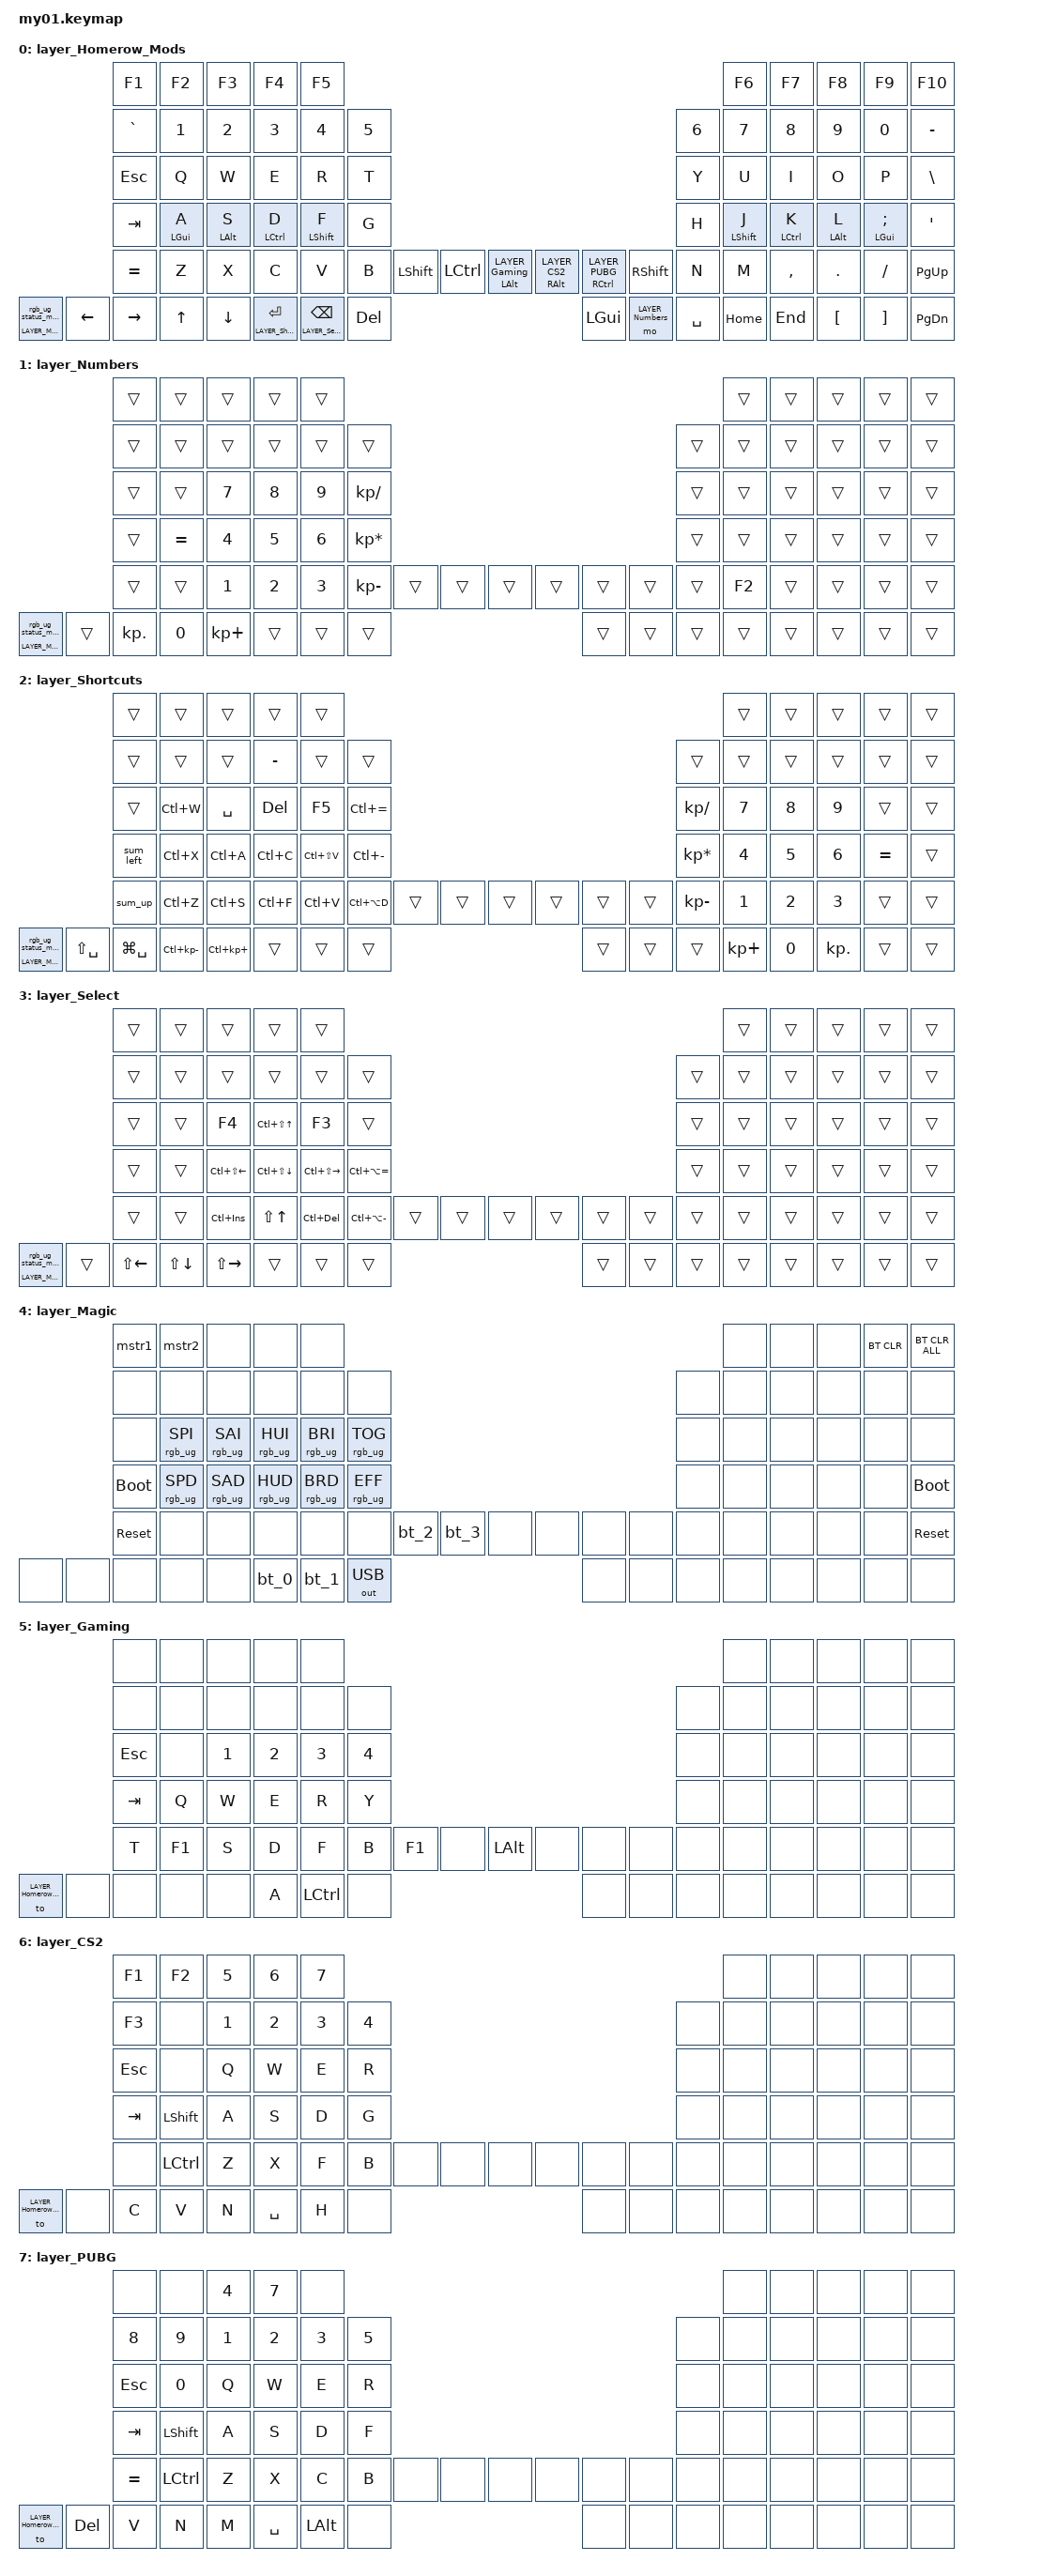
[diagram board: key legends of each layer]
/*
 * Copyright (c) 2020 The ZMK Contributors
 * Copyright (c) 2025 Innaworks Development Limited, trading as MoErgo
 *
 * SPDX-License-Identifier: MIT
 */


/* THIS FILE WAS GENERATED BY GLOVE80 LAYOUT EDITOR
 *
 * This file was generated automatically. You may or may not want to
 * edit it directly.
 */

#include <behaviors.dtsi>
/* Include all behavior includes needed */
#include <dt-bindings/zmk/outputs.h>
#include <dt-bindings/zmk/keys.h>
#include <dt-bindings/zmk/bt.h>
#include <dt-bindings/zmk/rgb.h>

/* On demand includes */


/* Helper Macros, based on https://github.com/urob/zmk-helpers/ */

#pragma once

#define ZMK_HELPER_STRINGIFY(x) #x

// Preprocessor mechanism to overload macros, cf. https://stackoverflow.com/a/27051616/6114651
#define VARGS_(_10, _9, _8, _7, _6, _5, _4, _3, _2, _1, N, ...) N
#define VARGS(...) VARGS_(__VA_ARGS__, 10, 9, 8, 7, 6, 5, 4, 3, 2, 1, 0)
#define CONCAT_(a, b) a##b
#define CONCAT(a, b) CONCAT_(a, b)

#define ZMK_BEHAVIOR_CORE_tap_dance  \
    compatible = "zmk,behavior-tap-dance"; \
    #binding-cells = <0>

#define ZMK_BEHAVIOR(name, type, ...) \
    name: name { \
        ZMK_BEHAVIOR_CORE_ ## type; \
        __VA_ARGS__ \
    };

#define ZMK_TAP_DANCE(name, ...) \
    ZMK_BEHAVIOR(name, tap_dance, __VA_ARGS__)

#define ZMK_TD_LAYER(name, layer) \
    ZMK_TAP_DANCE(name, \
        tapping-term-ms = <200>; \
        bindings = <&mo layer>, <&to layer>; \
)

/* Environment and metadata defines */
#define KB_TYPE_GLOVE_80 1
#define KB_TYPE_GO_60    2

#define KB_TYPE          KB_TYPE_GLOVE_80
#define EDITOR_HOST_OS   'M'

/* Automatically generated layer name defines */
#define LAYER_Homerow_Mods 0
#define LAYER_Numbers 1
#define LAYER_Shortcuts 2
#define LAYER_Select 3
#define LAYER_Magic 4
#define LAYER_Gaming 5
#define LAYER_CS2 6
#define LAYER_PUBG 7

/* To deal with the situation where there is no Lower layer, to keep &lower happy */
#ifndef LAYER_Lower
#define LAYER_Lower 0
#endif

/* Custom Device-tree */


/* Input Listeners */


/* System behavior and Macros */
/ {
    behaviors {
        ZMK_TD_LAYER(lower, LAYER_Lower)
    };
};

/ {
    macros {
        rgb_ug_status_macro: rgb_ug_status_macro {
            label = "RGB_UG_STATUS";
            compatible = "zmk,behavior-macro";
            #binding-cells = <0>;
            bindings
                = <&rgb_ug RGB_STATUS>;
        };
    };
};


/ {
#ifdef BT_DISC_CMD
    behaviors {
        bt_0: bt_0 {
            compatible = "zmk,behavior-tap-dance";
            label = "BT_0";
            #binding-cells = <0>;
            tapping-term-ms = <200>;
            bindings = <&bt_select_0>, <&bt BT_DISC 0>;
        };
        bt_1: bt_1 {
            compatible = "zmk,behavior-tap-dance";
            label = "BT_1";
            #binding-cells = <0>;
            tapping-term-ms = <200>;
            bindings = <&bt_select_1>, <&bt BT_DISC 1>;
        };
        bt_2: bt_2 {
            compatible = "zmk,behavior-tap-dance";
            label = "BT_2";
            #binding-cells = <0>;
            tapping-term-ms = <200>;
            bindings = <&bt_select_2>, <&bt BT_DISC 2>;
        };
        bt_3: bt_3 {
            compatible = "zmk,behavior-tap-dance";
            label = "BT_3";
            #binding-cells = <0>;
            tapping-term-ms = <200>;
            bindings = <&bt_select_3>, <&bt BT_DISC 3>;
        };
    };
    macros {
        bt_select_0: bt_select_0 {
            label = "BT_SELECT_0";
            compatible = "zmk,behavior-macro";
            #binding-cells = <0>;
            bindings
                = <&out OUT_BLE>,
                  <&bt BT_SEL 0>;
        };
        bt_select_1: bt_select_1 {
            label = "BT_SELECT_1";
            compatible = "zmk,behavior-macro";
            #binding-cells = <0>;
            bindings
                = <&out OUT_BLE>,
                  <&bt BT_SEL 1>;
        };
        bt_select_2: bt_select_2 {
            label = "BT_SELECT_2";
            compatible = "zmk,behavior-macro";
            #binding-cells = <0>;
            bindings
                = <&out OUT_BLE>,
                  <&bt BT_SEL 2>;
        };
        bt_select_3: bt_select_3 {
            label = "BT_SELECT_3";
            compatible = "zmk,behavior-macro";
            #binding-cells = <0>;
            bindings
                = <&out OUT_BLE>,
                  <&bt BT_SEL 3>;
        };
    };
#else
    macros {
        bt_0: bt_0 {
            label = "BT_0";
            compatible = "zmk,behavior-macro";
            #binding-cells = <0>;
            bindings
                = <&out OUT_BLE>,
                  <&bt BT_SEL 0>;
        };
        bt_1: bt_1 {
            label = "BT_1";
            compatible = "zmk,behavior-macro";
            #binding-cells = <0>;
            bindings
                = <&out OUT_BLE>,
                  <&bt BT_SEL 1>;
        };
        bt_2: bt_2 {
            label = "BT_2";
            compatible = "zmk,behavior-macro";
            #binding-cells = <0>;
            bindings
                = <&out OUT_BLE>,
                  <&bt BT_SEL 2>;
        };
        bt_3: bt_3 {
            label = "BT_3";
            compatible = "zmk,behavior-macro";
            #binding-cells = <0>;
            bindings
                = <&out OUT_BLE>,
                  <&bt BT_SEL 3>;
        };
    };
#endif
};

/ {
    behaviors {
        magic: magic {
            compatible = "zmk,behavior-hold-tap";
            label = "MAGIC_HOLD_TAP";
            #binding-cells = <2>;
            flavor = "tap-preferred";
            tapping-term-ms = <200>;
            bindings = <&mo>, <&rgb_ug_status_macro>;
        };
    };
};


/* Key positions */

#define POS_LH_C6R1 0
#define POS_LH_C5R1 1
#define POS_LH_C4R1 2
#define POS_LH_C3R1 3
#define POS_LH_C2R1 4
#define POS_RH_C2R1 5
#define POS_RH_C3R1 6
#define POS_RH_C4R1 7
#define POS_RH_C5R1 8
#define POS_RH_C6R1 9
#define POS_LH_C6R2 10
#define POS_LH_C5R2 11
#define POS_LH_C4R2 12
#define POS_LH_C3R2 13
#define POS_LH_C2R2 14
#define POS_LH_C1R2 15
#define POS_RH_C1R2 16
#define POS_RH_C2R2 17
#define POS_RH_C3R2 18
#define POS_RH_C4R2 19
#define POS_RH_C5R2 20
#define POS_RH_C6R2 21
#define POS_LH_C6R3 22
#define POS_LH_C5R3 23
#define POS_LH_C4R3 24
#define POS_LH_C3R3 25
#define POS_LH_C2R3 26
#define POS_LH_C1R3 27
#define POS_RH_C1R3 28
#define POS_RH_C2R3 29
#define POS_RH_C3R3 30
#define POS_RH_C4R3 31
#define POS_RH_C5R3 32
#define POS_RH_C6R3 33
#define POS_LH_C6R4 34
#define POS_LH_C5R4 35
#define POS_LH_C4R4 36
#define POS_LH_C3R4 37
#define POS_LH_C2R4 38
#define POS_LH_C1R4 39
#define POS_RH_C1R4 40
#define POS_RH_C2R4 41
#define POS_RH_C3R4 42
#define POS_RH_C4R4 43
#define POS_RH_C5R4 44
#define POS_RH_C6R4 45
#define POS_LH_C6R5 46
#define POS_LH_C5R5 47
#define POS_LH_C4R5 48
#define POS_LH_C3R5 49
#define POS_LH_C2R5 50
#define POS_LH_C1R5 51
#define POS_LH_T1 52
#define POS_LH_T2 53
#define POS_LH_T3 54
#define POS_RH_T3 55
#define POS_RH_T2 56
#define POS_RH_T1 57
#define POS_RH_C1R5 58
#define POS_RH_C2R5 59
#define POS_RH_C3R5 60
#define POS_RH_C4R5 61
#define POS_RH_C5R5 62
#define POS_RH_C6R5 63
#define POS_LH_C6R6 64
#define POS_LH_C5R6 65
#define POS_LH_C4R6 66
#define POS_LH_C3R6 67
#define POS_LH_C2R6 68
#define POS_LH_T4 69
#define POS_LH_T5 70
#define POS_LH_T6 71
#define POS_RH_T6 72
#define POS_RH_T5 73
#define POS_RH_T4 74
#define POS_RH_C2R6 75
#define POS_RH_C3R6 76
#define POS_RH_C4R6 77
#define POS_RH_C5R6 78
#define POS_RH_C6R6 79


/* Custom Defined Behaviors */
/ {

};

/* Generated input processors */


/* Automatically generated macro definitions */
/ {
    macros {

        // AutoShift (Assign &AS to a Key) - &AS main macro is chained to &AS_HT hold tap and &AS_Shifted macro
        AS: AS {
            label = "&AS";
            compatible = "zmk,behavior-macro-one-param";
            #binding-cells = <1>;
            tap-ms = <10>;
            wait-ms = <10>;
            bindings = <&macro_press>
                , <&macro_param_1to1>
                , <&macro_param_1to2>
                , <&AS_HT A A>
                , <&macro_pause_for_release>
                , <&macro_release>
                , <&macro_param_1to1>
                , <&macro_param_1to2>
                , <&AS_HT A A>;
        };

        // AutoShift Helper - &AS main macro is chained to &AS_HT hold tap and &AS_Shifted macro - TailorKey
        AS_Shifted: AS_Shifted {
            label = "&AS_SHIFTED";
            compatible = "zmk,behavior-macro-one-param";
            #binding-cells = <1>;
            bindings = <&macro_press>
                , <&kp LSHFT>
                , <&macro_tap>
                , <&macro_param_1to1>
                , <&kp N1>
                , <&macro_release>
                , <&kp LSHFT>;
        };

        // Cursor Layer Copy - Ctrl C
        cur_COPY: cur_COPY {
            label = "&CUR_COPY";
            compatible = "zmk,behavior-macro";
            #binding-cells = <0>;
            bindings = <&kp LC(C)>;
        };

        // Cursor Layer Cut - Ctrl X
        cur_CUT: cur_CUT {
            label = "&CUR_CUT";
            compatible = "zmk,behavior-macro";
            #binding-cells = <0>;
            bindings = <&kp LC(X)>;
        };

        // Cursor Layer - extend the current line
        cur_EXTEND_LINE: cur_EXTEND_LINE {
            label = "&CUR_EXTEND_LINE";
            compatible = "zmk,behavior-macro";
            #binding-cells = <0>;
            tap-ms = <1>;
            wait-ms = <1>;
            bindings = <&kp LS(END)>;
        };

        // Cursor Layer - extend current word
        cur_EXTEND_WORD: cur_EXTEND_WORD {
            label = "&CUR_EXTEND_WORD";
            compatible = "zmk,behavior-macro";
            #binding-cells = <0>;
            tap-ms = <1>;
            wait-ms = <1>;
            bindings = <&kp LC(LS(RIGHT))>;
        };

        // Cursor Layer Find - Ctrl F
        cur_FIND: cur_FIND {
            label = "&CUR_FIND";
            compatible = "zmk,behavior-macro";
            #binding-cells = <0>;
            bindings = <&kp LC(F)>;
        };

        // Cursor Layer Find Next - Ctrl G
        cur_FNEXT: cur_FNEXT {
            label = "&CUR_FNEXT";
            compatible = "zmk,behavior-macro";
            #binding-cells = <0>;
            bindings = <&kp LC(G)>;
        };

        // Cursor Layer Find Prev - Ctrl Shift G
        cur_FPREV: cur_FPREV {
            label = "&CUR_FPREV";
            compatible = "zmk,behavior-macro";
            #binding-cells = <0>;
            bindings = <&kp LS(LC(G))>;
        };

        // Cursor Layer Paste - Ctrl V
        cur_PASTE: cur_PASTE {
            label = "&CUR_PASTE";
            compatible = "zmk,behavior-macro";
            #binding-cells = <0>;
            bindings = <&kp LC(V)>;
        };

        // Cursor Layer Redo - Ctrl Y
        cur_REDO: cur_REDO {
            label = "&CUR_REDO";
            compatible = "zmk,behavior-macro";
            #binding-cells = <0>;
            bindings = <&kp LC(Y)>;
        };

        // Cursor Layer Selest All - Ctrl A
        cur_SELECT_ALL: cur_SELECT_ALL {
            label = "&CUR_SELECT_ALL";
            compatible = "zmk,behavior-macro";
            #binding-cells = <0>;
            bindings = <&kp LC(A)>;
        };

        // Cursor Layer - select the current line
        cur_SELECT_LINE: cur_SELECT_LINE {
            label = "&CUR_SELECT_LINE";
            compatible = "zmk,behavior-macro";
            #binding-cells = <0>;
            tap-ms = <1>;
            wait-ms = <1>;
            bindings = <&kp HOME>
                , <&kp LS(END)>;
        };

        // Cursor Layer - select_none macro
        cur_SELECT_NONE: cur_SELECT_NONE {
            label = "&CUR_SELECT_NONE";
            compatible = "zmk,behavior-macro";
            #binding-cells = <0>;
            tap-ms = <1>;
            wait-ms = <1>;
            bindings = <&kp DOWN>
                , <&kp UP>
                , <&kp RIGHT>
                , <&kp LEFT>;
        };

        // Cursor Layer - select current word
        cur_SELECT_WORD: cur_SELECT_WORD {
            label = "&CUR_SELECT_WORD";
            compatible = "zmk,behavior-macro";
            #binding-cells = <0>;
            tap-ms = <1>;
            wait-ms = <1>;
            bindings = <&kp LC(LEFT)>
                , <&kp LC(LS(RIGHT))>;
        };

        // Cursor Layer Undo - Ctrl Z
        cur_UNDO: cur_UNDO {
            label = "&CUR_UNDO";
            compatible = "zmk,behavior-macro";
            #binding-cells = <0>;
            bindings = <&kp LC(Z)>;
        };

        // mod_tab_switcher - Glorious Engrammer
        //
        //
        mod_tab: mod_tab {
            label = "&MOD_TAB";
            compatible = "zmk,behavior-macro-one-param";
            #binding-cells = <1>;
            tap-ms = <0>;
            wait-ms = <0>;
            bindings = <&macro_press>
                , <&macro_param_1to1>
                , <&kp N0>
                , <&macro_tap>
                , <&kp TAB>
                , <&macro_pause_for_release>
                , <&macro_release>
                , <&macro_param_1to1>
                , <&kp N0>;
        };

        // mod_tab_switcher_chord  - Glorious Engrammer
        mod_tab_chord: mod_tab_chord {
            label = "&MOD_TAB_CHORD";
            compatible = "zmk,behavior-macro-two-param";
            #binding-cells = <2>;
            tap-ms = <0>;
            wait-ms = <0>;
            bindings = <&macro_press>
                , <&macro_param_2to1>
                , <&mo LAYER_Homerow_Mods>
                , <&macro_press>
                , <&macro_param_1to1>
                , <&mod_tab N0>
                , <&macro_pause_for_release>
                , <&macro_release>
                , <&macro_param_1to1>
                , <&mod_tab N0>
                , <&macro_release>
                , <&macro_param_2to1>
                , <&mo LAYER_Homerow_Mods>;
        };

        // Magic Layer F1 - Text output sample macro 1 "¡Hola!" - TailorKey Sample
        mstr1: mstr1 {
            label = "&MSTR1";
            compatible = "zmk,behavior-macro";
            #binding-cells = <0>;
            bindings = <&macro_press>
                , <&kp RALT>
                , <&macro_tap>
                , <&kp KP_N0>
                , <&kp KP_N1>
                , <&kp KP_N6>
                , <&kp KP_N1>
                , <&macro_release>
                , <&kp RALT>
                , <&macro_press>
                , <&kp LSHFT>
                , <&macro_tap>
                , <&kp H>
                , <&macro_release>
                , <&kp LSHFT>
                , <&macro_tap>
                , <&kp O>
                , <&kp L>
                , <&kp A>
                , <&kp LS(N1)>
                , <&kp SPACE>
                , <&kp RET>;
        };

        // Magic Layer F2 - Text output sample macro 2 "grammar check: <paste>" - TailorKey Sample
        mstr2: mstr2 {
            label = "&MSTR2";
            compatible = "zmk,behavior-macro";
            #binding-cells = <0>;
            bindings = <&macro_tap>
                , <&kp G>
                , <&kp R>
                , <&kp A>
                , <&kp M>
                , <&kp M>
                , <&kp A>
                , <&kp R>
                , <&kp SPACE>
                , <&kp C>
                , <&kp H>
                , <&kp E>
                , <&kp C>
                , <&kp K>
                , <&kp LS(SEMI)>
                , <&kp LC(V)>
                , <&kp RET>;
        };

        // paste plain text
        mm_PASTE_PLAIN: mm_PASTE_PLAIN {
            label = "&MM_PASTE_PLAIN";
            compatible = "zmk,behavior-macro";
            #binding-cells = <0>;
            bindings = <&kp LC(LS(V))>;
        };

        // Perform sum to left cells
        sum_left: sum_left {
            label = "&SUM_LEFT";
            compatible = "zmk,behavior-macro";
            #binding-cells = <0>;
            bindings = <&macro_tap>
                , <&kp EQUAL>
                , <&macro_wait_time 10>
                , <&kp S>
                , <&macro_wait_time 10>
                , <&kp U>
                , <&macro_wait_time 10>
                , <&kp M>
                , <&macro_wait_time 10>
                , <&kp LS(N9)>
                , <&macro_wait_time 80>
                , <&kp LEFT>;
        };

        // Perform sum to left cells
        sum_up: sum_up {
            label = "&SUM_UP";
            compatible = "zmk,behavior-macro";
            #binding-cells = <0>;
            bindings = <&macro_tap>
                , <&kp EQUAL>
                , <&macro_wait_time 10>
                , <&kp S>
                , <&macro_wait_time 10>
                , <&kp U>
                , <&macro_wait_time 10>
                , <&kp M>
                , <&macro_wait_time 10>
                , <&kp LS(N9)>
                , <&macro_wait_time 300>
                , <&kp UP>;
        };
    };
};

/* Automatically generated behavior definitions */
/ {
    behaviors {


        // AutoShift Helper - &AS main macro is chained to &AS_HT hold tap and &AS_Shifted macro - TailorKey
        AS_HT: AS_HT {
            compatible = "zmk,behavior-hold-tap";
            #binding-cells = <2>;
            tapping-term-ms = <190>;
            bindings = <&AS_Shifted>, <&kp>;
        };

        // Homerow Mod for the left index finger
        HRM_left_index: HRM_left_index {
            compatible = "zmk,behavior-hold-tap";
            #binding-cells = <2>;
            tapping-term-ms = <200>;
            bindings = <&kp>, <&kp>;
            flavor = "balanced";
            quick-tap-ms = <200>;
            require-prior-idle-ms = <150>;
            retro-tap;
            hold-trigger-key-positions = <POS_RH_T1 POS_RH_T2 POS_RH_T3 POS_RH_T6 POS_RH_T5 POS_RH_T4 POS_RH_C2R1 POS_RH_C3R1 POS_RH_C4R1 POS_RH_C5R1 POS_RH_C1R2 POS_RH_C2R2 POS_RH_C3R2 POS_RH_C4R2 POS_RH_C5R2 POS_RH_C1R3 POS_RH_C2R3 POS_RH_C3R3 POS_RH_C4R3 POS_RH_C5R3 POS_RH_C1R4 POS_RH_C2R4 POS_RH_C3R4 POS_RH_C4R4 POS_RH_C5R4 POS_RH_C1R5 POS_RH_C2R5 POS_RH_C3R5 POS_RH_C4R5 POS_RH_C5R5 POS_RH_C2R6 POS_RH_C3R6 POS_RH_C4R6 POS_RH_C5R6 POS_RH_C6R1 POS_RH_C6R2 POS_RH_C6R3 POS_RH_C6R4 POS_RH_C6R5 POS_RH_C6R6 POS_LH_T1 POS_LH_T2 POS_LH_T3 POS_LH_T5 POS_LH_T6 POS_LH_T4 POS_LH_C2R4>;
            hold-trigger-on-release;
        };

        // Homerow Mod for the left middle finger
        HRM_left_middy: HRM_left_middy {
            compatible = "zmk,behavior-hold-tap";
            #binding-cells = <2>;
            tapping-term-ms = <200>;
            bindings = <&kp>, <&kp>;
            flavor = "balanced";
            quick-tap-ms = <200>;
            require-prior-idle-ms = <180>;
            retro-tap;
            hold-trigger-key-positions = <POS_RH_T1 POS_RH_T2 POS_RH_T3 POS_RH_T6 POS_RH_T5 POS_RH_T4 POS_RH_C2R1 POS_RH_C3R1 POS_RH_C4R1 POS_RH_C5R1 POS_RH_C1R2 POS_RH_C2R2 POS_RH_C3R2 POS_RH_C4R2 POS_RH_C5R2 POS_RH_C1R3 POS_RH_C2R3 POS_RH_C3R3 POS_RH_C4R3 POS_RH_C5R3 POS_RH_C1R4 POS_RH_C2R4 POS_RH_C3R4 POS_RH_C4R4 POS_RH_C5R4 POS_RH_C1R5 POS_RH_C2R5 POS_RH_C3R5 POS_RH_C4R5 POS_RH_C5R5 POS_RH_C2R6 POS_RH_C3R6 POS_RH_C4R6 POS_RH_C5R6 POS_RH_C6R1 POS_RH_C6R2 POS_RH_C6R3 POS_RH_C6R4 POS_RH_C6R5 POS_RH_C6R6 POS_LH_T1 POS_LH_T2 POS_LH_T3 POS_LH_T4 POS_LH_T5 POS_LH_T6 POS_LH_C3R4>;
            hold-trigger-on-release;
        };

        // Homerow Mod for the left pinky
        HRM_left_pinky: HRM_left_pinky {
            compatible = "zmk,behavior-hold-tap";
            #binding-cells = <2>;
            tapping-term-ms = <200>;
            bindings = <&kp>, <&kp>;
            flavor = "balanced";
            quick-tap-ms = <200>;
            require-prior-idle-ms = <180>;
            retro-tap;
            hold-trigger-key-positions = <POS_RH_T1 POS_RH_T2 POS_RH_T3 POS_RH_T6 POS_RH_T5 POS_RH_T4 POS_RH_C2R1 POS_RH_C3R1 POS_RH_C4R1 POS_RH_C5R1 POS_RH_C6R1 POS_RH_C1R2 POS_RH_C2R2 POS_RH_C3R2 POS_RH_C4R2 POS_RH_C5R2 POS_RH_C6R2 POS_RH_C2R3 POS_RH_C3R3 POS_RH_C4R3 POS_RH_C5R3 POS_RH_C6R3 POS_RH_C3R4 POS_RH_C4R4 POS_RH_C5R4 POS_RH_C6R4 POS_RH_C3R5 POS_RH_C4R5 POS_RH_C5R5 POS_RH_C6R5 POS_RH_C1R3 POS_RH_C1R4 POS_RH_C2R4 POS_RH_C1R5 POS_RH_C2R5 POS_RH_C2R6 POS_RH_C3R6 POS_RH_C4R6 POS_RH_C6R6 POS_RH_C5R6 POS_LH_T1 POS_LH_T2 POS_LH_T3 POS_LH_T4 POS_LH_T5 POS_LH_T6 POS_LH_C5R4>;
            hold-trigger-on-release;
        };

        // Homerow Mod for the left ring finger 1
        HRM_left_ring1: HRM_left_ring1 {
            compatible = "zmk,behavior-hold-tap";
            #binding-cells = <2>;
            tapping-term-ms = <200>;
            bindings = <&kp>, <&kp>;
            flavor = "balanced";
            quick-tap-ms = <200>;
            require-prior-idle-ms = <150>;
            retro-tap;
            hold-trigger-key-positions = <POS_RH_T1 POS_RH_T2 POS_RH_T3 POS_RH_T6 POS_RH_T5 POS_RH_T4 POS_RH_C2R1 POS_RH_C3R1 POS_RH_C4R1 POS_RH_C5R1 POS_RH_C1R2 POS_RH_C2R2 POS_RH_C3R2 POS_RH_C4R2 POS_RH_C5R2 POS_RH_C1R3 POS_RH_C2R3 POS_RH_C3R3 POS_RH_C4R3 POS_RH_C5R3 POS_RH_C1R4 POS_RH_C2R4 POS_RH_C3R4 POS_RH_C4R4 POS_RH_C5R4 POS_RH_C1R5 POS_RH_C2R5 POS_RH_C3R5 POS_RH_C4R5 POS_RH_C5R5 POS_RH_C2R6 POS_RH_C3R6 POS_RH_C4R6 POS_RH_C5R6 POS_RH_C6R1 POS_RH_C6R2 POS_RH_C6R3 POS_RH_C6R4 POS_RH_C6R5 POS_RH_C6R6 POS_LH_T1 POS_LH_T2 POS_LH_T3 POS_LH_T4 POS_LH_T5 POS_LH_T6 POS_LH_C4R4>;
            hold-trigger-on-release;
        };

        // Homerow Mod for the right index finger
        HRM_right_index: HRM_right_index {
            compatible = "zmk,behavior-hold-tap";
            #binding-cells = <2>;
            tapping-term-ms = <180>;
            bindings = <&kp>, <&kp>;
            flavor = "tap-preferred";
            quick-tap-ms = <300>;
            require-prior-idle-ms = <100>;
            hold-trigger-key-positions = <POS_LH_T1 POS_LH_T2 POS_LH_T3 POS_LH_T6 POS_LH_T5 POS_LH_T4 POS_LH_C6R1 POS_LH_C5R1 POS_LH_C6R2 POS_LH_C5R2 POS_LH_C4R2 POS_LH_C3R2 POS_LH_C2R2 POS_LH_C6R3 POS_LH_C5R3 POS_LH_C4R3 POS_LH_C3R3 POS_LH_C2R3 POS_LH_C1R3 POS_LH_C6R4 POS_LH_C5R4 POS_LH_C4R4 POS_LH_C3R4 POS_LH_C2R4 POS_LH_C1R4 POS_LH_C6R5 POS_LH_C5R5 POS_LH_C4R5 POS_LH_C3R5 POS_LH_C2R5 POS_LH_C1R5 POS_LH_C6R6 POS_LH_C5R6 POS_LH_C4R6 POS_LH_C3R6 POS_LH_C2R6 POS_LH_C1R2 POS_LH_C2R1 POS_LH_C4R1 POS_LH_C3R1 POS_RH_T3 POS_RH_T2 POS_RH_T1 POS_RH_T6 POS_RH_T5 POS_RH_T4 POS_RH_C2R4>;
            hold-trigger-on-release;
        };

        // Homerow Mod for the right middle finger
        HRM_right_middy: HRM_right_middy {
            compatible = "zmk,behavior-hold-tap";
            #binding-cells = <2>;
            tapping-term-ms = <200>;
            bindings = <&kp>, <&kp>;
            flavor = "tap-preferred";
            quick-tap-ms = <300>;
            require-prior-idle-ms = <150>;
            hold-trigger-key-positions = <POS_LH_T1 POS_LH_T2 POS_LH_T3 POS_LH_T6 POS_LH_T5 POS_LH_T4 POS_LH_C6R1 POS_LH_C5R1 POS_LH_C6R2 POS_LH_C5R2 POS_LH_C4R2 POS_LH_C3R2 POS_LH_C2R2 POS_LH_C6R3 POS_LH_C5R3 POS_LH_C4R3 POS_LH_C3R3 POS_LH_C2R3 POS_LH_C1R3 POS_LH_C6R4 POS_LH_C5R4 POS_LH_C4R4 POS_LH_C3R4 POS_LH_C2R4 POS_LH_C1R4 POS_LH_C6R5 POS_LH_C5R5 POS_LH_C4R5 POS_LH_C3R5 POS_LH_C2R5 POS_LH_C1R5 POS_LH_C6R6 POS_LH_C5R6 POS_LH_C4R6 POS_LH_C3R6 POS_LH_C2R6 POS_LH_C1R2 POS_LH_C2R1 POS_LH_C4R1 POS_LH_C3R1 POS_RH_T3 POS_RH_T2 POS_RH_T1 POS_RH_T6 POS_RH_T5 POS_RH_T4 POS_RH_C3R4>;
            hold-trigger-on-release;
        };

        // Homerow Mod for the right pinky
        HRM_right_pinky: HRM_right_pinky {
            compatible = "zmk,behavior-hold-tap";
            #binding-cells = <2>;
            tapping-term-ms = <250>;
            bindings = <&kp>, <&kp>;
            flavor = "tap-preferred";
            quick-tap-ms = <300>;
            require-prior-idle-ms = <150>;
            hold-trigger-key-positions = <POS_LH_T1 POS_LH_T2 POS_LH_T3 POS_LH_T6 POS_LH_T5 POS_LH_T4 POS_LH_C6R1 POS_LH_C5R1 POS_LH_C6R2 POS_LH_C5R2 POS_LH_C4R2 POS_LH_C3R2 POS_LH_C2R2 POS_LH_C6R3 POS_LH_C5R3 POS_LH_C4R3 POS_LH_C3R3 POS_LH_C2R3 POS_LH_C1R3 POS_LH_C6R4 POS_LH_C5R4 POS_LH_C4R4 POS_LH_C3R4 POS_LH_C2R4 POS_LH_C1R4 POS_LH_C6R5 POS_LH_C5R5 POS_LH_C4R5 POS_LH_C3R5 POS_LH_C2R5 POS_LH_C1R5 POS_LH_C6R6 POS_LH_C5R6 POS_LH_C4R6 POS_LH_C3R6 POS_LH_C2R6 POS_LH_C1R2 POS_LH_C2R1 POS_LH_C4R1 POS_LH_C3R1 POS_RH_T3 POS_RH_T2 POS_RH_T1 POS_RH_T6 POS_RH_T5 POS_RH_T4 POS_RH_C5R4>;
            hold-trigger-on-release;
        };

        // Homerow Mod for the right ring 1
        //
        HRM_right_ring1: HRM_right_ring1 {
            compatible = "zmk,behavior-hold-tap";
            #binding-cells = <2>;
            tapping-term-ms = <200>;
            bindings = <&kp>, <&kp>;
            flavor = "tap-preferred";
            quick-tap-ms = <300>;
            require-prior-idle-ms = <150>;
            hold-trigger-key-positions = <POS_LH_T1 POS_LH_T2 POS_LH_T3 POS_LH_T6 POS_LH_T5 POS_LH_T4 POS_LH_C6R1 POS_LH_C5R1 POS_LH_C6R2 POS_LH_C5R2 POS_LH_C4R2 POS_LH_C3R2 POS_LH_C2R2 POS_LH_C6R3 POS_LH_C5R3 POS_LH_C4R3 POS_LH_C3R3 POS_LH_C2R3 POS_LH_C1R3 POS_LH_C6R4 POS_LH_C5R4 POS_LH_C4R4 POS_LH_C3R4 POS_LH_C2R4 POS_LH_C1R4 POS_LH_C6R5 POS_LH_C5R5 POS_LH_C4R5 POS_LH_C3R5 POS_LH_C2R5 POS_LH_C1R5 POS_LH_C6R6 POS_LH_C5R6 POS_LH_C4R6 POS_LH_C3R6 POS_LH_C2R6 POS_LH_C1R2 POS_LH_C2R1 POS_LH_C4R1 POS_LH_C3R1 POS_RH_T3 POS_RH_T2 POS_RH_T1 POS_RH_T6 POS_RH_T5 POS_RH_T4 POS_RH_C4R4>;
            hold-trigger-on-release;
        };

        // Homerow Mod for the right ring 2
        HRM_right_ring2: HRM_right_ring2 {
            compatible = "zmk,behavior-hold-tap";
            #binding-cells = <2>;
            tapping-term-ms = <200>;
            bindings = <&kp>, <&kp>;
            flavor = "tap-preferred";
            quick-tap-ms = <300>;
            require-prior-idle-ms = <150>;
            hold-trigger-key-positions = <POS_LH_T1 POS_LH_T2 POS_LH_T3 POS_LH_T6 POS_LH_T5 POS_LH_T4 POS_LH_C6R1 POS_LH_C5R1 POS_LH_C6R2 POS_LH_C5R2 POS_LH_C4R2 POS_LH_C3R2 POS_LH_C2R2 POS_LH_C6R3 POS_LH_C5R3 POS_LH_C4R3 POS_LH_C3R3 POS_LH_C2R3 POS_LH_C1R3 POS_LH_C6R4 POS_LH_C5R4 POS_LH_C4R4 POS_LH_C3R4 POS_LH_C2R4 POS_LH_C1R4 POS_LH_C6R5 POS_LH_C5R5 POS_LH_C4R5 POS_LH_C3R5 POS_LH_C2R5 POS_LH_C1R5 POS_LH_C6R6 POS_LH_C5R6 POS_LH_C4R6 POS_LH_C3R6 POS_LH_C2R6 POS_LH_C1R2 POS_LH_C2R1 POS_LH_C4R1 POS_LH_C3R1 POS_RH_T3 POS_RH_T2 POS_RH_T1 POS_RH_T6 POS_RH_T5 POS_RH_T4 POS_RH_C4R3>;
            hold-trigger-on-release;
        };

        // thumb_layer_access - Glorious Engrammer
        thumb_L: thumb_L {
            compatible = "zmk,behavior-hold-tap";
            #binding-cells = <2>;
            tapping-term-ms = <220>;
            bindings = <&mo>, <&kp>;
            quick-tap-ms = <250>;
            require-prior-idle-ms = <150>;
        };

        tap_layer_hold_shift: tap_layer_hold_shift {
            compatible = "zmk,behavior-hold-tap";
            #binding-cells = <2>;
            tapping-term-ms = <200>;
            bindings = <&kp>, <&tog>;
            flavor = "tap-preferred";
        };

        // Homerow Mod for the left index finger
        HRM_modified: HRM_modified {
            compatible = "zmk,behavior-hold-tap";
            #binding-cells = <2>;
            tapping-term-ms = <200>;
            bindings = <&kp>, <&kp>;
            flavor = "tap-preferred";
            quick-tap-ms = <300>;
            require-prior-idle-ms = <100>;
        };

        // thumb_layer_access - Glorious Engrammer
        thumb_R: thumb_R {
            compatible = "zmk,behavior-hold-tap";
            #binding-cells = <2>;
            tapping-term-ms = <220>;
            bindings = <&mo>, <&kp>;
            flavor = "balanced";
            quick-tap-ms = <150>;
            require-prior-idle-ms = <150>;
        };
    };
};

/* Automatically generated combos definitions */
/ {
    combos {
        compatible = "zmk,combos";

        combo_cb_numl {
            key-positions = <POS_LH_C3R5 POS_LH_C4R5>;
            bindings = <&tog LAYER_Numbers>;
            layers = <LAYER_Homerow_Mods LAYER_Numbers LAYER_Shortcuts LAYER_Select LAYER_Magic>;
        };

        combo_cb_numr {
            key-positions = <POS_RH_C3R5 POS_RH_C4R5>;
            bindings = <&tog LAYER_Shortcuts>;
            layers = <LAYER_Homerow_Mods LAYER_Numbers LAYER_Shortcuts LAYER_Select LAYER_Magic>;
        };

        combo_cb_to0r {
            key-positions = <POS_RH_C3R4 POS_RH_C4R4>;
            bindings = <&to LAYER_Homerow_Mods>;
            layers = <LAYER_Homerow_Mods LAYER_Numbers LAYER_Shortcuts LAYER_Select LAYER_Magic>;
        };

        combo_cb_to0l {
            key-positions = <POS_LH_C4R4 POS_LH_C3R4>;
            bindings = <&to LAYER_Homerow_Mods>;
            layers = <LAYER_Homerow_Mods LAYER_Numbers LAYER_Shortcuts LAYER_Select LAYER_Magic>;
        };

        combo_cb_caplock {
            timeout-ms = <50>;
            key-positions = <POS_LH_T4 POS_RH_T4>;
            bindings = <&kp CAPS>;
            layers = <LAYER_Homerow_Mods>;
        };
    };
};

/* Automatically generated keymap */
/ {
    keymap {
        compatible = "zmk,keymap";


        layer_Homerow_Mods {
            bindings = <
               &kp F1                  &kp F2                  &kp F3                   &kp F4                   &kp F5                                                                                                                                                                                                                                &kp F6                    &kp F7                   &kp F8                      &kp F9    &kp F10
            &kp GRAVE                  &kp N1                  &kp N2                   &kp N3                   &kp N4  &kp N5                                                                                                                                                                                              &kp N6                    &kp N7                    &kp N8                   &kp N9                      &kp N0  &kp MINUS
              &kp ESC                   &kp Q                   &kp W                    &kp E                    &kp R   &kp T                                                                                                                                                                                               &kp Y                     &kp U                     &kp I                    &kp O                       &kp P   &kp BSLH
              &kp TAB  &HRM_left_pinky LGUI A  &HRM_left_ring1 LALT S  &HRM_left_middy LCTRL D  &HRM_left_index LSHFT F   &kp G                                                                                                                                                                                               &kp H  &HRM_right_index LSHFT J  &HRM_right_middy LCTRL K  &HRM_right_ring1 LALT L  &HRM_right_pinky LGUI SEMI    &kp SQT
            &kp EQUAL                   &kp Z                   &kp X                    &kp C                    &kp V   &kp B                     &kp LSHFT                   &kp LCTRL  &tap_layer_hold_shift LALT LAYER_Gaming  &tap_layer_hold_shift RALT LAYER_CS2  &tap_layer_hold_shift RCTRL LAYER_PUBG  &kp RSHFT   &kp N                     &kp M                 &kp COMMA                  &kp DOT                    &kp FSLH  &kp PG_UP
 &magic LAYER_Magic 0                &kp LEFT               &kp RIGHT                   &kp UP                 &kp DOWN          &thumb_L LAYER_Shortcuts RET  &thumb_L LAYER_Select BSPC                                  &kp DEL                              &kp LGUI                       &mo LAYER_Numbers  &kp SPACE                          &kp HOME                   &kp END                 &kp LBKT                    &kp RBKT  &kp PG_DN
            >;
        };

        layer_Numbers {
            bindings = <
               &trans     &trans      &trans  &trans       &trans                                                                           &trans  &trans  &trans  &trans  &trans
               &trans     &trans      &trans  &trans       &trans           &trans                                                  &trans  &trans  &trans  &trans  &trans  &trans
               &trans     &trans      &kp N7  &kp N8       &kp N9     &kp KP_SLASH                                                  &trans  &trans  &trans  &trans  &trans  &trans
               &trans  &kp EQUAL      &kp N4  &kp N5       &kp N6  &kp KP_MULTIPLY                                                  &trans  &trans  &trans  &trans  &trans  &trans
               &trans     &trans      &kp N1  &kp N2       &kp N3     &kp KP_MINUS  &trans  &trans  &trans  &trans  &trans  &trans  &trans  &kp F2  &trans  &trans  &trans  &trans
 &magic LAYER_Magic 0     &trans  &kp KP_DOT  &kp N0  &kp KP_PLUS                   &trans  &trans  &trans  &trans  &trans  &trans          &trans  &trans  &trans  &trans  &trans
            >;
        };

        layer_Shortcuts {
            bindings = <
               &trans         &trans         &trans            &trans           &trans                                                                                       &trans  &trans      &trans     &trans  &trans
               &trans         &trans         &trans         &kp MINUS           &trans         &trans                                                           &trans       &trans  &trans      &trans     &trans  &trans
               &trans      &kp LC(W)      &kp SPACE           &kp DEL           &kp F5  &kp LC(EQUAL)                                                     &kp KP_SLASH       &kp N7  &kp N8      &kp N9     &trans  &trans
            &sum_left      &kp LC(X)      &kp LC(A)         &kp LC(C)    &kp LC(LS(V))  &kp LC(MINUS)                                                  &kp KP_MULTIPLY       &kp N4  &kp N5      &kp N6  &kp EQUAL  &trans
              &sum_up      &kp LC(Z)      &kp LC(S)         &kp LC(F)        &kp LC(V)  &kp LC(LA(D))  &trans  &trans  &trans  &trans  &trans  &trans     &kp KP_MINUS       &kp N1  &kp N2      &kp N3     &trans  &trans
 &magic LAYER_Magic 0  &kp LS(SPACE)  &kp LG(SPACE)  &kp LC(KP_MINUS)  &kp LC(KP_PLUS)                 &trans  &trans  &trans  &trans  &trans  &trans                   &kp KP_PLUS  &kp N0  &kp KP_DOT     &trans  &trans
            >;
        };

        layer_Select {
            bindings = <
               &trans  &trans            &trans            &trans             &trans                                                                             &trans  &trans  &trans  &trans  &trans
               &trans  &trans            &trans            &trans             &trans             &trans                                                  &trans  &trans  &trans  &trans  &trans  &trans
               &trans  &trans            &kp F4    &kp LC(LS(UP))             &kp F3             &trans                                                  &trans  &trans  &trans  &trans  &trans  &trans
               &trans  &trans  &kp LC(LS(LEFT))  &kp LC(LS(DOWN))  &kp LC(LS(RIGHT))  &kp LC(LA(EQUAL))                                                  &trans  &trans  &trans  &trans  &trans  &trans
               &trans  &trans       &kp LC(INS)        &kp LS(UP)        &kp LC(DEL)  &kp LC(LA(MINUS))  &trans  &trans  &trans  &trans  &trans  &trans  &trans  &trans  &trans  &trans  &trans  &trans
 &magic LAYER_Magic 0  &trans      &kp LS(LEFT)      &kp LS(DOWN)      &kp LS(RIGHT)                     &trans  &trans  &trans  &trans  &trans  &trans          &trans  &trans  &trans  &trans  &trans
            >;
        };

        layer_Magic {
            bindings = <
      &mstr1           &mstr2            &none            &none            &none                                                                                  &none   &none   &none  &bt BT_CLR  &bt BT_CLR_ALL
       &none            &none            &none            &none            &none            &none                                                         &none   &none   &none   &none       &none           &none
       &none  &rgb_ug RGB_SPI  &rgb_ug RGB_SAI  &rgb_ug RGB_HUI  &rgb_ug RGB_BRI  &rgb_ug RGB_TOG                                                         &none   &none   &none   &none       &none           &none
 &bootloader  &rgb_ug RGB_SPD  &rgb_ug RGB_SAD  &rgb_ug RGB_HUD  &rgb_ug RGB_BRD  &rgb_ug RGB_EFF                                                         &none   &none   &none   &none       &none     &bootloader
  &sys_reset            &none            &none            &none            &none            &none   &bt_2   &bt_3         &none   &none   &none   &none   &none   &none   &none   &none       &none      &sys_reset
       &none            &none            &none            &none            &none                    &bt_0   &bt_1  &out OUT_USB   &none   &none   &none           &none   &none   &none       &none           &none
            >;
        };

        layer_Gaming {
            bindings = <
                  &none   &none   &none   &none   &none                                                                        &none   &none   &none   &none   &none
                  &none   &none   &none   &none   &none   &none                                                        &none   &none   &none   &none   &none   &none
                &kp ESC   &none  &kp N1  &kp N2  &kp N3  &kp N4                                                        &none   &none   &none   &none   &none   &none
                &kp TAB   &kp Q   &kp W   &kp E   &kp R   &kp Y                                                        &none   &none   &none   &none   &none   &none
                  &kp T  &kp F1   &kp S   &kp D   &kp F   &kp B  &kp F1      &none  &kp LALT   &none   &none   &none   &none   &none   &none   &none   &none   &none
 &to LAYER_Homerow_Mods   &none   &none   &none   &none           &kp A  &kp LCTRL     &none   &none   &none   &none           &none   &none   &none   &none   &none
            >;
        };

        layer_CS2 {
            bindings = <
                 &kp F1     &kp F2  &kp N5  &kp N6  &kp N7                                                                      &none   &none   &none   &none   &none
                 &kp F3      &none  &kp N1  &kp N2  &kp N3  &kp N4                                                      &none   &none   &none   &none   &none   &none
                &kp ESC      &none   &kp Q   &kp W   &kp E   &kp R                                                      &none   &none   &none   &none   &none   &none
                &kp TAB  &kp LSHFT   &kp A   &kp S   &kp D   &kp G                                                      &none   &none   &none   &none   &none   &none
                  &none  &kp LCTRL   &kp Z   &kp X   &kp F   &kp B      &none   &none   &none   &none   &none   &none   &none   &none   &none   &none   &none   &none
 &to LAYER_Homerow_Mods      &none   &kp C   &kp V   &kp N          &kp SPACE   &kp H   &none   &none   &none   &none           &none   &none   &none   &none   &none
            >;
        };

        layer_PUBG {
            bindings = <
                  &none      &none  &kp N4  &kp N7   &none                                                                        &none   &none   &none   &none   &none
                 &kp N8     &kp N9  &kp N1  &kp N2  &kp N3  &kp N5                                                        &none   &none   &none   &none   &none   &none
                &kp ESC     &kp N0   &kp Q   &kp W   &kp E   &kp R                                                        &none   &none   &none   &none   &none   &none
                &kp TAB  &kp LSHFT   &kp A   &kp S   &kp D   &kp F                                                        &none   &none   &none   &none   &none   &none
              &kp EQUAL  &kp LCTRL   &kp Z   &kp X   &kp C   &kp B      &none     &none   &none   &none   &none   &none   &none   &none   &none   &none   &none   &none
 &to LAYER_Homerow_Mods    &kp DEL   &kp V   &kp N   &kp M          &kp SPACE  &kp LALT   &none   &none   &none   &none           &none   &none   &none   &none   &none
            >;
        };

    };
};
